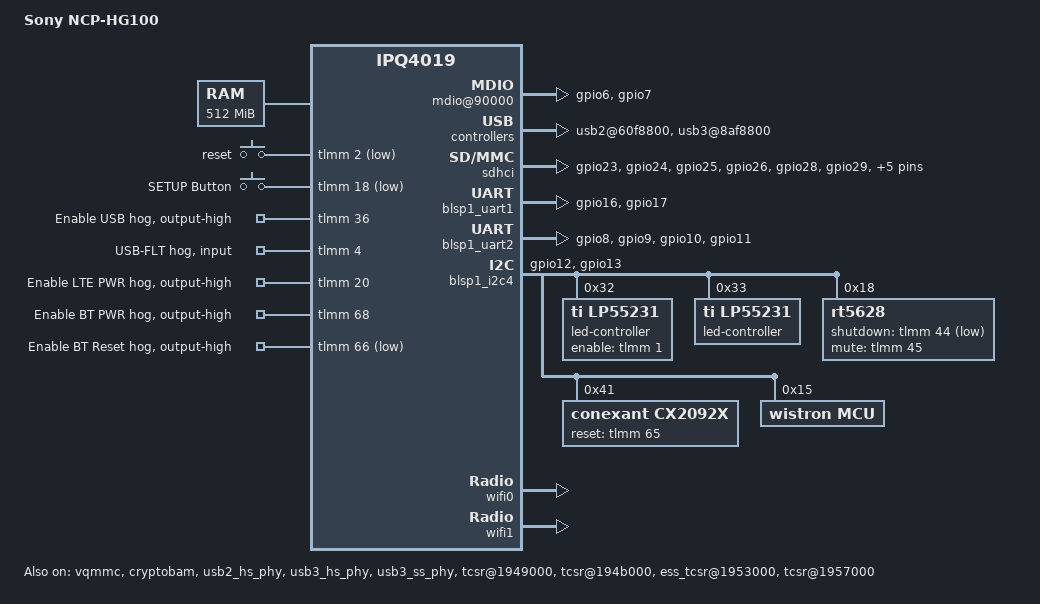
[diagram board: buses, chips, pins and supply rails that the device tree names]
// SPDX-License-Identifier: GPL-2.0-only OR MIT

#include "qcom-ipq4019.dtsi"
#include <dt-bindings/gpio/gpio.h>
#include <dt-bindings/input/input.h>
#include <dt-bindings/soc/qcom,tcsr.h>

/ {
	model = "Sony NCP-HG100";
	compatible = "sony,ncp-hg100", "qcom,ipq4019";

	chosen {
	/*	bootargs = "root=/dev/mmcblk0p16 rootfstype=squashfs,ext4 rootwait"; */
		bootargs-append = " clk_ignore_unused";
	};

	memory {
		device_type = "memory";
		reg = <0x80000000 0x20000000>; /* 512MB */
	};

	soc {
		rng@22000 {
			status = "okay";
		};

		mdio@90000 {
			status = "okay";
			pinctrl-0 = <&mdio_pins>;
			pinctrl-names = "default";
			phy-reset-gpio = <&tlmm 41 0>;
			bias-disable;
		};

		tcsr@1949000 {
			status = "okay";
			compatible = "qcom,tcsr";
			reg = <0x1949000 0x100>;
			qcom,wifi_glb_cfg = <TCSR_WIFI_GLB_CFG>;
		};

		tcsr@194b000 {
			status = "okay";
			compatible = "qcom,tcsr";
			reg = <0x194b000 0x100>;
			qcom,usb-hsphy-mode-select = <TCSR_USB_HSPHY_HOST_MODE>;
		};

		ess_tcsr@1953000 {
			status = "okay";
			compatible = "qcom,tcsr";
			reg = <0x1953000 0x1000>;
			qcom,ess-interface-select = <TCSR_ESS_PSGMII>;
		};

		tcsr@1957000 {
			status = "okay";
			compatible = "qcom,tcsr";
			reg = <0x1957000 0x100>;
			qcom,wifi_noc_memtype_m0_m2 = <TCSR_WIFI_NOC_MEMTYPE_M0_M2>;
		};

		ess-psgmii@98000 {
			status = "okay";
		};

		usb2@60f8800 {
			status = "okay";
		};

		usb3@8af8800 {
			status = "okay";
		};

		crypto@8e3a000 {
			status = "okay";
		};

		watchdog@b017000 {
			status = "okay";
		};

		edma@c080000 {
			status = "okay";
		};

		ess-switch@c000000 {
			status = "okay";
			switch_mac_mode = <0x0>; /* mac mode for RGMII RMII */
			switch_initvlas = <0x0007c 0x54>; /* PORT0_STATUS */
		};

		qpic-nand@79b0000 {
			status = "disabled";
		};
	};

	leds {
		compatible = "gpio-leds";
	};

	gpio-keys {
		compatible = "gpio_keys_polled";
		pinctrl-0 = <&gpiokey_pins>;
		pinctrl-names = "default";
		autorepeat;
		volup {
			label = "Volume Up";
			linux,code = <KEY_VOLUMEUP>;
			gpios = <&tlmm 39 GPIO_ACTIVE_HIGH>;
			linux,input-type = <EV_KEY>;
		};
		voldown {
			label = "Volume Down";
			linux,code = <KEY_VOLUMEDOWN>;
			gpios = <&tlmm 40 GPIO_ACTIVE_HIGH>;
			linux,input-type = <EV_KEY>;
		};
		alexatrigger {
			label = "Alexa Trigger";
			linux,code = <BTN_TRIGGER_HAPPY>;
			gpios = <&tlmm 42 GPIO_ACTIVE_HIGH>;
			linux,input-type = <EV_KEY>;
		};
		mute {
			label = "Mute";
			linux,code = <SW_MUTE_DEVICE>;
			gpios = <&tlmm 47 GPIO_ACTIVE_LOW>;
			linux,input-type = <EV_SW>;
		};
	};

	keys {
		compatible = "gpio-keys";

		reset {
			label = "reset";
			gpios = <&tlmm 2 GPIO_ACTIVE_LOW>;
			linux,code = <KEY_RESTART>;
		};

		wps {
			label = "SETUP Button";
			gpios = <&tlmm 18 GPIO_ACTIVE_LOW>;
			linux,code = <KEY_WPS_BUTTON>;
		};
	};

};

/*
 TOP Level Mode. Multiplexer (TLMM)
 //Right, I don't get it.
*/
&tlmm {
	serial_pins: serial_pinmux {
		mux {
			pins = "gpio16", "gpio17";
			function = "blsp_uart0";
			bias-disable;
		};
	};

	serial_1_pins: serial1_pinmux {
		mux {
			pins = "gpio8", "gpio9",
				"gpio10", "gpio11";
			function = "blsp_uart1";
			bias-disable;
		};
	};

	mdio_pins: mdio_pinmux {
		mux_1 {
			pins = "gpio6";
			function = "mdio0";
			bias-pull-up;
		};
		mux_2 {
			pins = "gpio7";
			function = "mdc";
			bias-pull-up;
		};
	};

	i2c_1_pins: i2c_1_pinmux {
		mux {
			pins = "gpio12", "gpio13";
			function = "blsp_i2c1";
			bias-disable;
		};
	};

	gpiokey_pins: gpiokey_pinmux {
		mux {
			pins = "gpio39", "gpio40", "gpio42", "gpio47";
			function = "gpio";
			bias-disable;
		};
	};

	sd_pins: sd_pins {
		pinmux {
			function = "sdio";
			pins = "gpio23", "gpio24", "gpio25", "gpio26",
				"gpio28", "gpio29", "gpio30", "gpio31";
			drive-strength = <4>;
		};

		pinmux_sd_clk {
			function = "sdio";
			pins = "gpio27";
			drive-strength = <16>;
		};

		pinmux_sd7 {
			function = "sdio";
			pins = "gpio32";
			drive-strength = <4>;
			bias-disable;
		};
	};

	helios_pins: helios_pinmux {
		//1 = UART0 as debug console ; 0 = UART0 as Zwave UART

		UART0_CTRL {
			pins = "gpio15";
			function = "gpio";
			output-low;
		};

		//Active low to reset the BT
		BT_RST {
			pins = "gpio66";
			function = "gpio";
			output-high;
		};

		//1 = BT power on ; 0 = BT power off
		BT_VREG_EN {
			pins = "gpio68";
			function = "gpio";
			output-high;
		};

		//1 = Reset button not be pressed ; 0 = Reset button be pressed
		SW_REST {
			pins = "gpio2";
			function = "gpio";
			input;
		};

		USB_FLT {
			pins = "gpio4";
			function = "gpio";
			input;
		};

		USB_EN {
			pins = "gpio36";
			function = "gpio";
			output-high;
		};

		//Audio PCM interface for BT
		PCM {
			pins = "gpio48", "gpio49", "gpio50", "gpio51";
			function = "aud_pin";
		};

		//Active low to reset the ZWAVE (at least 20ns)
		ZW_RST {
			pins = "gpio59";
			function = "gpio";
			output-high;
		};

		LTE_PWR {
			pins = "gpio20";
			function = "gpio";
			output-high;
		};

		LTE_RESET {
			pins = "gpio35";
			function = "gpio";
			input;
		};
	};
	audio_gpio_pins: audio_gpio_pinmux {
		mux_1 {
			pins = "gpio53";
			function = "gpio";
			output-high;
		};
		mux_2 {
			pins = "gpio57";
			function = "gpio";
			output-high;
		};
		mux_3 {
			pins = "gpio54";
			function = "gpio";
			output-high;
		};
	};
	audio_pins: audio_pinmux {
		mux_1 {
			pins = "gpio53";
			function = "i2s_tx_bclk";
		};
		mux_2 {
			pins = "gpio57";
			function = "i2s_tx_fsync";
		};
		mux_3 {
			pins = "gpio54";
			function = "i2s_td1";
		};
	};

	audio1_gpio_pins: audio1_gpio_pinmux {
		mux_1 {
			pins = "gpio60";
			function = "gpio";
			output-high;
		};
		mux_2 {
			pins = "gpio61";
			function = "gpio";
			output-high;
		};
		mux_3 {
			pins = "gpio63";
			function = "gpio";
			output-high;
		};
	};

	audio1_pins: audio1_pinmux {
		mux_1 {
			pins = "gpio60";
			function = "i2s_rx_bclk";
		};
		mux_2 {
			pins = "gpio61";
			function = "i2s_rx_fsync";
		};
		mux_3 {
			pins = "gpio63";
			function = "i2s_rxd";
		};
	};

	alc1304_pins: alc1304_pinmux {
		mux_1 {
			pins = "gpio44";
			function = "gpio";
			bias-disable;
		};
		mux_2 {
			pins = "gpio45";
			function = "gpio";
			bias-disable;
		};
	};

	cx2902x_reset: cx2902x_pinmux {
		mux_1 {
			pins = "gpio64";
			function = "gpio";
			bias-disable;
		};
		mux_2 {
			pins = "gpio65";
			function = "gpio";
			bias-disable;
		};
	};

	usb-pwr-en {
		gpio-hog;
		gpios = <36 GPIO_ACTIVE_HIGH>;
		output-high;
		line-name = "Enable USB";
	};

	usb-ovc-detect {
		gpio-hog;
		gpios = <4 GPIO_ACTIVE_HIGH>;
		input;
		line-name = "USB-FLT";
	};

	lte-pwr {
		gpio-hog;
		gpios = <20 GPIO_ACTIVE_HIGH>;
		output-high;
		line-name = "Enable LTE PWR";
	};

	bt-pwr {
		gpio-hog;
		gpios = <68 GPIO_ACTIVE_HIGH>;
		output-high;
		line-name = "Enable BT PWR";
	};

	bt-rst {
		gpio-hog;
		gpios = <66 GPIO_ACTIVE_LOW>;
		output-high;
		line-name = "Enable BT Reset";
	};

};

/* emmc */
&vqmmc {
	status = "okay";
};

&sdhci {
	status = "okay";
	pinctrl-0 = <&sd_pins>;
	pinctrl-names = "default";
	cd-gpios = <&tlmm 22 GPIO_ACTIVE_LOW>;
	vqmmc-supply = <&vqmmc>;
};

/*
 BAM(Boot Assist Module)
 BLSP(BAM Low Speed Peripheral)
*/

&blsp_dma {
	status = "okay";
};

&cryptobam {
	status = "okay";
};

&blsp1_uart1 {
	pinctrl-0 = <&serial_pins>;
	pinctrl-names = "default";
	status = "okay";
};

&blsp1_uart2 {
	pinctrl-0 = <&serial_1_pins>;
	pinctrl-names = "default";
	status = "okay";
};

&blsp1_i2c4 { /* i2c1 */
/*
0x14 ?
0x15 mcu(thermal/fan controller)
0x18 dac
0x31 led
0x32 led
  led1:WAN,  led2 LAN
  led3:2.4G, led4 5G
  led5:NET,  led6 CLOUD
0x41 mic
*/
	pinctrl-0 = <&i2c_1_pins>;
	pinctrl-names = "default";
	status = "okay";

	led-controller@32 {
		/* 9-channel RGB LED controller */
		compatible = "ti,lp55231";
		reg = <0x32>;
		clock-mode = /bits/ 8 <0>; /* LP55XX_CLOCK_AUTO */
		enable-gpio = <&tlmm 1 GPIO_ACTIVE_HIGH>;

		chan0 {
			chan-name = "led1_g";
			led-cur = /bits/ 8 <50>;
			max-cur = /bits/ 8 <100>;
		};

		chan1 {
			chan-name = "led1_b";
			led-cur = /bits/ 8 <50>;
			max-cur = /bits/ 8 <100>;
		};

		chan2 {
			chan-name = "led2_g";
			led-cur = /bits/ 8 <50>;
			max-cur = /bits/ 8 <100>;
		};

		chan3 {
			chan-name = "led2_b";
			led-cur = /bits/ 8 <50>;
			max-cur = /bits/ 8 <100>;
		};

		chan4 {
			chan-name = "led3_g";
			led-cur = /bits/ 8 <50>;
			max-cur = /bits/ 8 <100>;
		};

		chan5 {
			chan-name = "led3_b";
			led-cur = /bits/ 8 <50>;
			max-cur = /bits/ 8 <100>;
		};

		chan6 {
			chan-name = "led1_r";
			led-cur = /bits/ 8 <50>;
			max-cur = /bits/ 8 <100>;
		};

		chan7 {
			chan-name = "led2_r";
			led-cur = /bits/ 8 <50>;
			max-cur = /bits/ 8 <100>;
		};

		chan8 {
			chan-name = "led3_r";
			led-cur = /bits/ 8 <50>;
			max-cur = /bits/ 8 <100>;
		};
	};

	led-controller@33 {
		/* 9-channel RGB LED controller */
		compatible = "ti,lp55231";
		reg = <0x33>;
		clock-mode = /bits/ 8 <0>; /* LP55XX_CLOCK_AUTO */

		chan0 {
			chan-name = "led4_g";
			led-cur = /bits/ 8 <50>;
			max-cur = /bits/ 8 <100>;
		};

		chan1 {
			chan-name = "led4_b";
			led-cur = /bits/ 8 <50>;
			max-cur = /bits/ 8 <100>;
		};

		chan2 {
			chan-name = "led5_g";
			led-cur = /bits/ 8 <50>;
			max-cur = /bits/ 8 <100>;
		};

		chan3 {
			chan-name = "led5_b";
			led-cur = /bits/ 8 <50>;
			max-cur = /bits/ 8 <100>;
		};

		chan4 {
			chan-name = "led6_g";
			led-cur = /bits/ 8 <50>;
			max-cur = /bits/ 8 <100>;
		};

		chan5 {
			chan-name = "led6_b";
			led-cur = /bits/ 8 <50>;
			max-cur = /bits/ 8 <100>;
		};

		chan6 {
			chan-name = "led4_r";
			led-cur = /bits/ 8 <50>;
			max-cur = /bits/ 8 <100>;
		};

		chan7 {
			chan-name = "led5_r";
			led-cur = /bits/ 8 <50>;
			max-cur = /bits/ 8 <100>;
		};

		chan8 {
			chan-name = "led6_r";
			led-cur = /bits/ 8 <50>;
			max-cur = /bits/ 8 <100>;
		};
	};

/* no kernel drivers */
	rt5628@18 {
		compatible = "rt5628";
		reg = <0x18>;
		status = "ok";
		pinctrl-0 = <&alc1304_pins>;
		pinctrl-names = "default";
		shutdown-gpio = <&tlmm 44 GPIO_ACTIVE_LOW>;
		mute-gpio = <&tlmm 45 GPIO_ACTIVE_HIGH>;
	};

	conexant@41 {
		compatible = "conexant,cx2092x";
		reg = <0x41>;
		conexant,name = "cx2092x";
		reset-gpio = <&tlmm 65 GPIO_ACTIVE_HIGH>;
		pinctrl-0 = <&cx2902x_reset>;
		pinctrl-names = "default";
	};

	mcu@15 {
		compatible = "wistron,mcu";
		reg = <0x15>;
	};
};

&usb2_hs_phy {
	status = "okay";
};

&usb3_hs_phy {
	status = "okay";
};

&usb3_ss_phy {
	status = "okay";
};

&wifi0 {
	status = "okay";
	qcom,ath10k-calibration-variant = "Sony_NCP-HG100";
};

&wifi1 {
	status = "okay";
	qcom,ath10k-calibration-variant = "Sony_NCP-HG100";
};
